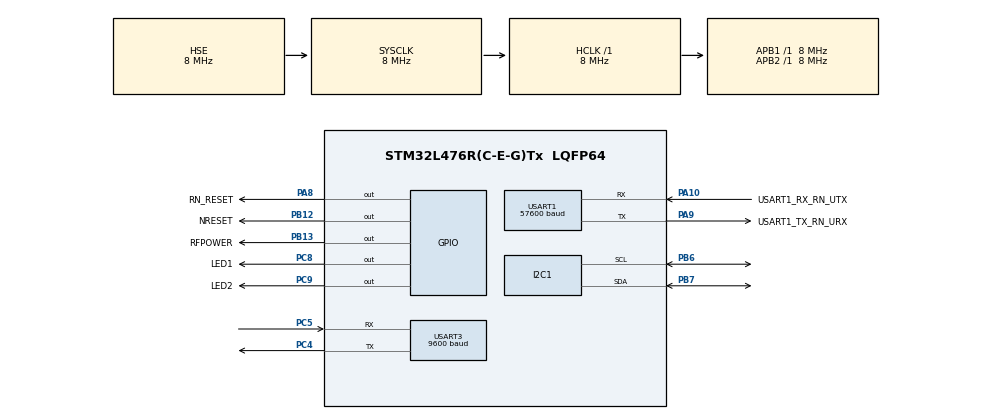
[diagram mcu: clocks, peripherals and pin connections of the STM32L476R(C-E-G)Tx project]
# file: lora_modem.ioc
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Mcu.Family=STM32L4
Mcu.Name=STM32L476R(C-E-G)Tx
Mcu.Package=LQFP64
NVIC.PriorityGroup=NVIC_PRIORITYGROUP_4
NVIC.TIM2_IRQn=true\:0\:0\:false\:false\:true
NVIC.USART1_IRQn=true\:0\:0\:false\:false\:true
NVIC.USART3_IRQn=true\:0\:0\:false\:false\:true
PA10.GPIO_Label=USART1_RX_RN_UTX
PA10.Mode=Asynchronous
PA10.Signal=USART1_RX
PA8.GPIO_Label=RN_RESET
PA8.Signal=GPIO_Output
PA9.GPIO_Label=USART1_TX_RN_URX
PA9.Mode=Asynchronous
PA9.Signal=USART1_TX
PB12.GPIO_Label=NRESET
PB12.Signal=GPIO_Output
PB13.GPIO_Label=RFPOWER
PB13.PinState=GPIO_PIN_SET
PB13.Signal=GPIO_Output
PB6.Mode=I2C
PB6.Signal=I2C1_SCL
PB7.Mode=I2C
PB7.Signal=I2C1_SDA
PC14/OSC32_IN.Mode=LSE-External-Oscillator
PC14/OSC32_IN.Signal=RCC_OSC32_IN
PC15/OSC32_OUT.Mode=LSE-External-Oscillator
PC15/OSC32_OUT.Signal=RCC_OSC32_OUT
PC4.Mode=Asynchronous
PC4.Signal=USART3_TX
PC5.Mode=Asynchronous
PC5.Signal=USART3_RX
PC8.GPIO_Label=LED1
PC8.Signal=GPIO_Output
PC9.GPIO_Label=LED2
PC9.Signal=GPIO_Output
PH0/OSC_IN.Mode=HSE-External-Oscillator
PH0/OSC_IN.Signal=RCC_OSC_IN
PH1/OSC_OUT.Mode=HSE-External-Oscillator
PH1/OSC_OUT.Signal=RCC_OSC_OUT
ProjectManager.HeapSize=0x200
ProjectManager.StackSize=0x400
ProjectManager.TargetToolchain=SW4STM32
RCC.ADCFreq_Value=32000000
RCC.AHBFreq_Value=8000000
RCC.APB1Freq_Value=8000000
RCC.APB1TimFreq_Value=8000000
RCC.APB2Freq_Value=8000000
RCC.APB2TimFreq_Value=8000000
RCC.CortexFreq_Value=8000000
RCC.HCLKFreq_Value=8000000
RCC.HSE_VALUE=8000000
RCC.HSI_VALUE=16000000
RCC.MSI_VALUE=4000000
RCC.PLLSourceVirtual=RCC_PLLSOURCE_HSE
RCC.SYSCLKFreq_VALUE=8000000
RCC.SYSCLKSource=RCC_SYSCLKSOURCE_HSE
RCC.USART1CLockSelection=RCC_USART1CLKSOURCE_SYSCLK
RCC.USBFreq_Value=32000000
RCC.VCOOutputFreq_Value=64000000
TIM2.Period=99
TIM2.Prescaler=8000
USART1.BaudRate=57600
USART1.WordLength=UART_WORDLENGTH_8B
USART3.BaudRate=9600
USART3.WordLength=UART_WORDLENGTH_8B
VP_TIM2_VS_ClockSourceINT.Mode=Internal
board=lora_modem

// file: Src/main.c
/**
  ******************************************************************************
  * File Name          : main.c
  * Description        : Main program body
  ******************************************************************************
  *
  * COPYRIGHT(c) 2016 STMicroelectronics
  *
  * Redistribution and use in source and binary forms, with or without modification,
  * are permitted provided that the following conditions are met:
  *   1. Redistributions of source code must retain the above copyright notice,
  *      this list of conditions and the following disclaimer.
  *   2. Redistributions in binary form must reproduce the above copyright notice,
  *      this list of conditions and the following disclaimer in the documentation
  *      and/or other materials provided with the distribution.
  *   3. Neither the name of STMicroelectronics nor the names of its contributors
  *      may be used to endorse or promote products derived from this software
  *      without specific prior written permission.
  *
  * THIS SOFTWARE IS PROVIDED BY THE COPYRIGHT HOLDERS AND CONTRIBUTORS "AS IS"
  * AND ANY EXPRESS OR IMPLIED WARRANTIES, INCLUDING, BUT NOT LIMITED TO, THE
  * IMPLIED WARRANTIES OF MERCHANTABILITY AND FITNESS FOR A PARTICULAR PURPOSE ARE
  * DISCLAIMED. IN NO EVENT SHALL THE COPYRIGHT HOLDER OR CONTRIBUTORS BE LIABLE
  * FOR ANY DIRECT, INDIRECT, INCIDENTAL, SPECIAL, EXEMPLARY, OR CONSEQUENTIAL
  * DAMAGES (INCLUDING, BUT NOT LIMITED TO, PROCUREMENT OF SUBSTITUTE GOODS OR
  * SERVICES; LOSS OF USE, DATA, OR PROFITS; OR BUSINESS INTERRUPTION) HOWEVER
  * CAUSED AND ON ANY THEORY OF LIABILITY, WHETHER IN CONTRACT, STRICT LIABILITY,
  * OR TORT (INCLUDING NEGLIGENCE OR OTHERWISE) ARISING IN ANY WAY OUT OF THE USE
  * OF THIS SOFTWARE, EVEN IF ADVISED OF THE POSSIBILITY OF SUCH DAMAGE.
  *
  ******************************************************************************
  */
#include "stm32l4xx_hal.h"
#include "i2c.h"
#include "tim.h"
#include "usart.h"
#include "gpio.h"

/* USER CODE BEGIN Includes */

#include <string.h>
#include <math.h>
#include "modem/mLoRaWAN.h"
#include "SHT2x/SHT2x.h"
#include "vcom.h"

/* USER CODE END Includes */

/* USER CODE BEGIN PV */
/* Private variables ---------------------------------------------------------*/

extern uint8_t _version;
char Buffer[100];
//char Rx_indx_1, Rx_data_1[2], Rx_Buffer_1[100], Transfer_cplt_1, Tx_Buffer_1[100];
char Rx_indx_3, Rx_data_3[2], Rx_Buffer_3[100], Transfer_cplt_3, Tx_Buffer_3[100];

/* USER CODE END PV */

void SystemClock_Config(void);
void Error_Handler(void);

/* USER CODE BEGIN PFP */
/* Private function prototypes -----------------------------------------------*/

/* USER CODE END PFP */

/* USER CODE BEGIN 0 */

void printAnswer(uint8_t ans)
{
	char cret[30];
	cret[0]='\0';

	switch(ans)
	{
		case LORAWAN_ANSWER_OK:
			sprintf(cret,"LORAWAN_ANSWER_OK\r\n");
		break;
		case LORAWAN_ANSWER_ERROR:
			sprintf(cret,"LORAWAN_ANSWER_ERROR\r\n");
		break;
		case LORAWAN_NO_ANSWER:
			sprintf(cret,"LORAWAN_NO_ANSWER\r\n");
		break;
		case LORAWAN_INIT_ERROR:
			sprintf(cret,"LORAWAN_INIT_ERROR\r\n");
		break;
		case LORAWAN_LENGTH_ERROR:
			sprintf(cret,"LORAWAN_LENGTH_ERROR\r\n");
		break;
		case LORAWAN_SENDING_ERROR:
			sprintf(cret,"LORAWAN_SENDING_ERROR\r\n");
		break;
		case LORAWAN_NOT_JOINED:
			sprintf(cret,"LORAWAN_NOT_JOINED\r\n");
		break;
		case LORAWAN_INPUT_ERROR:
			sprintf(cret,"LORAWAN_INPUT_ERROR\r\n");
		break;
		case LORAWAN_VERSION_ERROR:
			sprintf(cret,"LORAWAN_VERSION_ERROR\r\n");
		break;
	}

	PRINTF("%s\n", cret);
}

void del(uint32_t ms)
{
	HAL_GPIO_TogglePin(LED1_GPIO_Port, LED1_Pin);
	HAL_Delay(200);
	HAL_GPIO_TogglePin(LED1_GPIO_Port, LED1_Pin);
	HAL_Delay(ms);
}

/* USER CODE END 0 */

int main(void)
{

  /* USER CODE BEGIN 1 */

	uint8_t join = 1, ret = 0;
	uint8_t count_err = 0;
	uint8_t dr = 0;
	uint32_t del = 10000;

  /* USER CODE END 1 */

  /* MCU Configuration----------------------------------------------------------*/

  /* Reset of all peripherals, Initializes the Flash interface and the Systick. */
  HAL_Init();

  /* Configure the system clock */
  SystemClock_Config();

  /* Initialize all configured peripherals */
  MX_GPIO_Init();
  MX_USART1_UART_Init();
  MX_USART3_UART_Init();
  MX_I2C1_Init();
  MX_TIM2_Init();

  /* USER CODE BEGIN 2 */

  vcom_Init(huart3);

  uint16_t sT;
  float   temperatureC;           //variable for temperature[°C] as float
  uint8_t  error = 0;              //variable for error code. For codes see system.h

  mUtil_InitUart();
  HAL_UART_Receive_IT(&huart3, Rx_data_3, 1);

  ON();
  resetHardware();
  check();
  setRetries(0);
  setDataRate(5);

  /* USER CODE END 2 */

  /* Infinite loop */
  /* USER CODE BEGIN WHILE */
  while (1)
  {
	  PRINTF("J: %s, count %d\n", (join==0)?"SI":"NO", count_err);

	  if(join != LORAWAN_ANSWER_OK)
	  {
		  join = joinOTAA();
		  printAnswer(join);
	  }
	  if(join == LORAWAN_ANSWER_OK)
	  {
//		  char word[20];
//		  error |= SHT2x_MeasureHM(TEMP, &sT);
//		  temperatureC = SHT2x_CalcTemperatureC(sT);
//		  int d1 = temperatureC;
//		  float f2 = temperatureC - d1;
//		  int d2 = trunc(f2 * 10000);
//		  sprintf(word,"%d.%04d", d1, d2);
//		  int i = 0;
//		  for(i = 0; i<strlen(word); i++){
//			  sprintf(Buffer+i*2, "%02X", word[i]);
//		  }
//		  PRINTF("%s\n", Buffer);

		  uint8_t Buff[20];
			uint16_t sT, sH;
			float   temperatureC, humidityH;           //variable for temperature[°C] as float
			uint8_t  error = 0;              //variable for error code. For codes see system.h
			error |= SHT2x_MeasureHM(TEMP, &sT);
			temperatureC = SHT2x_CalcTemperatureC(sT);
			error |= SHT2x_MeasureHM(HUMIDITY, &sH);
			humidityH = SHT2x_CalcRH(sH);

			memcpy(&Buff[0], &temperatureC, 4);
			memcpy(&Buff[4], &humidityH, 4);

			int i = 0;
			for(i = 0; i<8; i++){
			  sprintf(Buffer+i*2, "%02X", Buff[i]);
			}

//		  dr = 5;
//		  dr = (d2 % 3) + 3;
//		  ret = 1;
//		  ret = setDataRate(dr);
//		  printAnswer(ret);

		  ret = LORAWAN_SENDING_ERROR;
		  ret = sendConfirmed(1, Buffer);
		  printAnswer(ret);

		  if(ret == LORAWAN_NOT_JOINED)
			  join = 1;

		  if(ret == LORAWAN_ANSWER_OK)
		  {
			  count_err = 0;
		  }
		  else
			  count_err++;
	  }
//	  if(count_err>5)
//	  {
//		  resetHardware();
//		  check();
//		  setRetries(0);
//		  count_err = 0;
//		  del(10000);
//	  }
//	  else
		  del = 20000;

//	if(ret_join == LORAWAN_ANSWER_OK)
//	{
//		char word[20];
//		error |= SHT2x_MeasureHM(TEMP, &sT);
//		temperatureC = SHT2x_CalcTemperatureC(sT);
//		int d1 = temperatureC;
//		float f2 = temperatureC - d1;
//		int d2 = trunc(f2 * 10000);
//		sprintf(word,"%d.%04d", d1, d2);
//		int i = 0;
//		for(i = 0; i<strlen(word); i++){
//		sprintf(Buffer+i*2, "%02X", word[i]);
//		}
//		PRINTF("%s\n", Buffer);
//
//		dr = 5;
//		dr = (d2 % 3) + 3;
//		ret = 1;
//		ret = setDataRate(dr);
//		printAnswer(ret);
//
//		ret = LORAWAN_SENDING_ERROR;
//		ret = sendConfirmed(2, Buffer);
//		printAnswer(ret);
//
//		if(ret == 0)
//			count_err = 0;
//		else
//			count_err++;
//	}
//	if(ret == LORAWAN_NOT_JOINED)
//	{
//		  ret_join = LORAWAN_NOT_JOINED;
//		  ret_join = joinOTAA();
//		  printAnswer(ret_join);
//	}
//	if(count_err>=10)
//	{
//		resetHardware();
//		ret_join = LORAWAN_NOT_JOINED;
//		count_err = 0;
//		ret = 1;
//		ret = setRetries(0);
//		printAnswer(ret);
//	}

	  //----------- cineca ok -----------
//		ON();
//		resetHardware();
//		check();
//		setRetries(0);
//		setDataRate(5);
//
//		if (join != LORAWAN_ANSWER_OK) {
//			join = joinOTAA();
//			printAnswer(join);
//		}
//		if (join == LORAWAN_ANSWER_OK) {
//			char word[20];
//			error |= SHT2x_MeasureHM(TEMP, &sT);
//			temperatureC = SHT2x_CalcTemperatureC(sT);
//			int d1 = temperatureC;
//			float f2 = temperatureC - d1;
//			int d2 = trunc(f2 * 10000);
//			sprintf(word, "%d.%04d", d1, d2);
//			int i = 0;
//			for (i = 0; i < strlen(word); i++) {
//				sprintf(Buffer + i * 2, "%02X", word[i]);
//			}
//			PRINTF("%s\n", Buffer);
//
//			ret = LORAWAN_SENDING_ERROR;
//			ret = sendConfirmed(1, Buffer);
//			printAnswer(ret);
//		}
//		if(ret != LORAWAN_ANSWER_OK)
//			del = 20000;
//		else
//			del = 10000;
//		join = LORAWAN_NOT_JOINED;
//		OFF();
	  //----------- end cineca ok -----------

  /* USER CODE END WHILE */

  /* USER CODE BEGIN 3 */
		HAL_GPIO_TogglePin(LED1_GPIO_Port, LED1_Pin);
		HAL_Delay(del);
  }
  /* USER CODE END 3 */

}

/** System Clock Configuration
*/
void SystemClock_Config(void)
{

  RCC_OscInitTypeDef RCC_OscInitStruct;
  RCC_ClkInitTypeDef RCC_ClkInitStruct;
  RCC_PeriphCLKInitTypeDef PeriphClkInit;

  RCC_OscInitStruct.OscillatorType = RCC_OSCILLATORTYPE_HSE;
  RCC_OscInitStruct.HSEState = RCC_HSE_ON;
  RCC_OscInitStruct.PLL.PLLState = RCC_PLL_NONE;
  if (HAL_RCC_OscConfig(&RCC_OscInitStruct) != HAL_OK)
  {
    Error_Handler();
  }

  RCC_ClkInitStruct.ClockType = RCC_CLOCKTYPE_HCLK|RCC_CLOCKTYPE_SYSCLK
                              |RCC_CLOCKTYPE_PCLK1|RCC_CLOCKTYPE_PCLK2;
  RCC_ClkInitStruct.SYSCLKSource = RCC_SYSCLKSOURCE_HSE;
  RCC_ClkInitStruct.AHBCLKDivider = RCC_SYSCLK_DIV1;
  RCC_ClkInitStruct.APB1CLKDivider = RCC_HCLK_DIV1;
  RCC_ClkInitStruct.APB2CLKDivider = RCC_HCLK_DIV1;
  if (HAL_RCC_ClockConfig(&RCC_ClkInitStruct, FLASH_LATENCY_0) != HAL_OK)
  {
    Error_Handler();
  }

  PeriphClkInit.PeriphClockSelection = RCC_PERIPHCLK_USART1|RCC_PERIPHCLK_USART3
                              |RCC_PERIPHCLK_I2C1;
  PeriphClkInit.Usart1ClockSelection = RCC_USART1CLKSOURCE_SYSCLK;
  PeriphClkInit.Usart3ClockSelection = RCC_USART3CLKSOURCE_PCLK1;
  PeriphClkInit.I2c1ClockSelection = RCC_I2C1CLKSOURCE_PCLK1;
  if (HAL_RCCEx_PeriphCLKConfig(&PeriphClkInit) != HAL_OK)
  {
    Error_Handler();
  }

  __HAL_RCC_PWR_CLK_ENABLE();

  if (HAL_PWREx_ControlVoltageScaling(PWR_REGULATOR_VOLTAGE_SCALE1) != HAL_OK)
  {
    Error_Handler();
  }

  HAL_SYSTICK_Config(HAL_RCC_GetHCLKFreq()/1000);

  HAL_SYSTICK_CLKSourceConfig(SYSTICK_CLKSOURCE_HCLK);

  /* SysTick_IRQn interrupt configuration */
  HAL_NVIC_SetPriority(SysTick_IRQn, 0, 0);
}

/* USER CODE BEGIN 4 */

//Interrupt callback routine
void HAL_UART_RxCpltCallback(UART_HandleTypeDef *huart)
{

	if (huart->Instance == USART1)	//current UART
	{
		mUtil_Uart_Callback();
	}

//	if (huart->Instance == USART1)	//current UART
//	{
//		Rx_Buffer_1[Rx_indx_1++]=Rx_data_1[0];	//add data to Rx_Buffer
//
//		if (Rx_data_1[0]==10)			//if received data = 13
//		{
//			Rx_Buffer_1[Rx_indx_1]='\0';
//			Rx_indx_1=0;
//			Transfer_cplt_1=1;//transfer complete, data is ready to read
//
//			int n = sprintf(Tx_Buffer_1, "%s", Rx_Buffer_1);
//			//HAL_UART_Transmit(&huart1, (uint8_t*) &Tx_Buffer_1, n, 1000);
//			HAL_UART_Transmit(&huart3, (uint8_t*) &Tx_Buffer_1, n, 1000);
//		}
//
//		HAL_UART_Receive_IT(&huart1, Rx_data_1, 1);	//activate UART receive interrupt every time
//	}
//	HAL_GPIO_TogglePin(LED2_GPIO_Port, LED2_Pin);

	if (huart->Instance == USART3)	//current UART
	{
		Rx_Buffer_3[Rx_indx_3++]=Rx_data_3[0];	//add data to Rx_Buffer

		if (Rx_data_3[0]==10)			//if received data = 13
		{
			Rx_Buffer_3[Rx_indx_3]='\0';
			Rx_indx_3=0;
			Transfer_cplt_3=1;//transfer complete, data is ready to read

			int n = sprintf(Tx_Buffer_3, "%s", Rx_Buffer_3);
			HAL_UART_Transmit(&huart3, (uint8_t*) &Tx_Buffer_3, n, 1000);
			HAL_UART_Transmit(&huart1, (uint8_t*) &Tx_Buffer_3, n, 1000);
		}

		HAL_UART_Receive_IT(&huart3, Rx_data_3, 1);	//activate UART receive interrupt every time
	}
}

/* USER CODE END 4 */

void Error_Handler(void)
{
  while(1)
  {
  }
}

/************************ (C) COPYRIGHT STMicroelectronics *****END OF FILE****/
